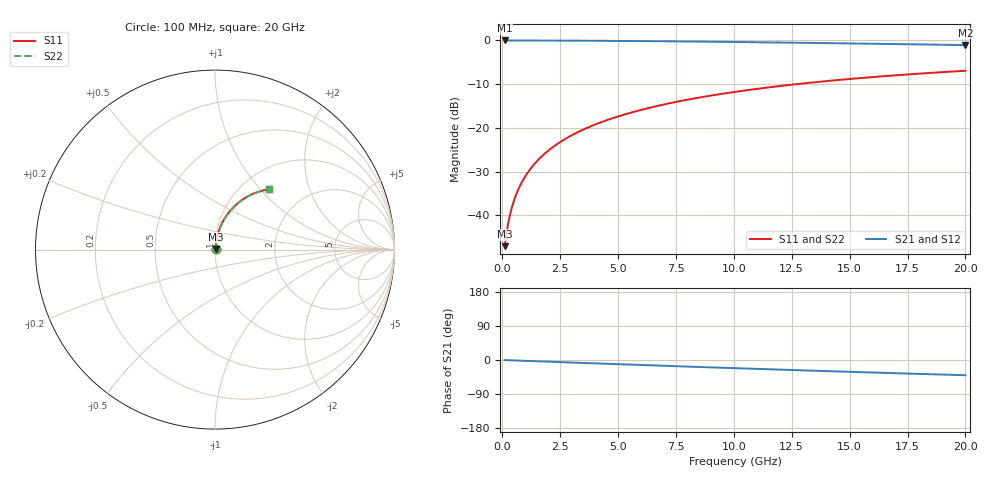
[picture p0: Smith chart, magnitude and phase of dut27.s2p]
! Touchstone file exported from HFSS 2026.1.0
!  File:  C:/ffzhzh/LocalFiles/Ansys_Project_Files/temp_train_BSMRDL_27_1782882159_43084.aedt
!  Generated:  01:03:54 PM Jul  1, 2026
!  Design:  BSMRDL
!  Project:  temp_train_BSMRDL_27_1782882159_43084
! Variables:
!  h_bsmrdl = 4.12um
!  h_ox = 20um
!  h_rdl = 5um
!  h_sub = 80um
!  h_tmrdl = 5um
!  h_tsv = 80um
!  h_via = 3um
!  l_bsmrdl = 524.38um
!  l_sub = 924.38um
!  l_tmrdl = 200um
!  m_sub = 200um
!  pitch = 49.89um
!  r_tsv = 6um
!  s_tmrdl = 10um
!  w_bsmrdl = 13.7um
!  w_sub = 500um
!  w_tmrdl = 12um
!  x_tsv_center1 = 206um
!  x_tsv_center2 = 744.08um
!  x_tsv_center3 = 956.08um
!  x_tsv_center4 = 1494.16um
!  x_tsv_center5 = 1706.16um
!  x_tsv_center6 = 2244.24um
# GHz S MA R 50.000000
! Terminal data exported
! Port[1] = BSM_RDL1_1_T1
! Port[2] = BSM_RDL1_1_T2
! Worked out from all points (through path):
!   200 points, 100 MHz to 20 GHz, reference 50 ohm
!   highest |S21| = -0.03 dB at 100 MHz (marker M1); lowest = -1.1 dB at 20 GHz (marker M2)
!   group delay of S21, straight-line fit = 5.59 ps
!   lowest |S11| = -47.1 dB at 100 MHz (marker M3), VSWR 1.01, Z = 50.3 + j0.288 ohm
!   |S11| at or under -10 dB: start of sweep to 12.74 GHz
!   |S22| runs from -47.1 to -7.0 dB; largest |S21 - S12| = 3.5e-15
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0.1  0.004432 40.2  0.9966 -0.2  0.9966 -0.2  0.004432 40.2
! Gamma 0 0 0 0
! Port Impedance 50 0 50 0
0.2  0.006677 58.6  0.9965 -0.5  0.9965 -0.5  0.006677 58.6
0.3  0.009237 66.9  0.9964 -0.7  0.9964 -0.7  0.009237 66.9
0.4  0.01188 71.4  0.9963 -0.9  0.9963 -0.9  0.01188 71.4
0.5  0.01456 74.2  0.9962 -1.1  0.9962 -1.1  0.01456 74.2
0.6  0.01725 76.1  0.9961 -1.4  0.9961 -1.4  0.01725 76.1
0.8  0.02264 78.4  0.9959 -1.8  0.9959 -1.8  0.02264 78.4
1.1  0.03076 80.1  0.9956 -2.5  0.9956 -2.5  0.03076 80.1
1.5  0.04162 80.9  0.995 -3.4  0.995 -3.4  0.04162 80.9
1.8  0.04976 81.1  0.9945 -4.0  0.9945 -4.0  0.04976 81.1
2.1  0.05789 81.0  0.994 -4.7  0.994 -4.7  0.05789 81.0
2.7  0.07409 80.4  0.9926 -6.0  0.9926 -6.0  0.07409 80.4
3.5  0.09549 79.1  0.9903 -7.8  0.9903 -7.8  0.09549 79.1
4.2  0.114 77.9  0.988 -9.3  0.988 -9.3  0.114 77.9
5  0.1348 76.4  0.9848 -11.1  0.9848 -11.1  0.1348 76.4
5.9  0.1578 74.6  0.9809 -13.0  0.9809 -13.0  0.1578 74.6
6.8  0.1804 72.8  0.9764 -14.9  0.9764 -14.9  0.1804 72.8
8.3  0.2169 69.8  0.9682 -18.0  0.9682 -18.0  0.2169 69.8
10.1  0.2587 66.3  0.957 -21.7  0.957 -21.7  0.2587 66.3
13.4  0.3298 60.0  0.9339 -28.2  0.9339 -28.2  0.3298 60.0
16.7  0.3932 54.1  0.9086 -34.4  0.9086 -34.4  0.3932 54.1
20  0.4487 48.4  0.8823 -40.2  0.8823 -40.2  0.4487 48.4
